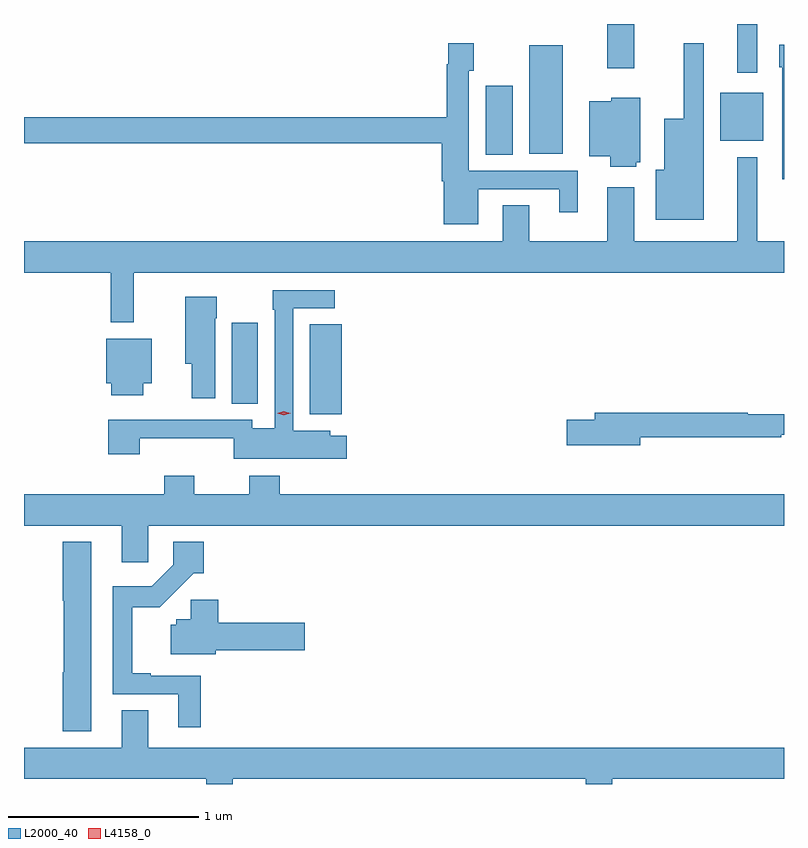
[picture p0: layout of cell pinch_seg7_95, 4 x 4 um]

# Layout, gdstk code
import gdstk
lib = gdstk.Library(unit=1e-6, precision=1e-09)
def R(c, l, rs):  # rectangles x0, y0, x1, y1
    for r in rs: c.add(gdstk.rectangle(r[:2], r[2:], *l))
def P(c, l, *ps):  # polygons
    for p in ps: c.add(gdstk.Polygon(p, *l))
L2000_40 = (2000, 40)
L4158_0 = (4158, 0)

pinch_seg7_95 = lib.new_cell('pinch_seg7_95')
R(pinch_seg7_95, L2000_40, [(893.699,1001.201,893.866,1001.675), (893.288,1001.257,893.425,1001.683), (894.623,1002.568,894.766,1002.931), (894.854,1002.572,895.03,1003.144), (895.859,1002.641,896.086,1002.895), (895.949,1002.999,896.053,1003.256), (895.265,1003.023,895.405,1003.256)])
P(pinch_seg7_95, L2000_40, [(895.771,1003.156),(895.667,1003.156),(895.667,1002.757),(895.565,1002.757),(895.565,1002.49),(895.52,1002.49),(895.52,1002.227),(895.771,1002.227)],
  [(894.586,1002.387),(895.01,1002.387),(895.01,1002.264),(895.108,1002.264),(895.108,1002.483),(894.534,1002.483),(894.534,1003.011),(894.561,1003.011),(894.561,1003.156),(894.426,1003.156),(894.426,1003.043),(894.418,1003.043),(894.418,1002.764),(892.194,1002.764),(892.194,1002.628),(894.392,1002.628),(894.392,1002.429),(894.404,1002.429),(894.404,1002.203),(894.586,1002.203)],
  [(896.194,1003.147),(896.168,1003.147),(896.168,1003.029),(896.186,1003.029),(896.186,1002.44),(896.194,1002.44)],
  [(895.416,1002.528),(895.438,1002.528),(895.438,1002.868),(895.284,1002.868),(895.284,1002.85),(895.169,1002.85),(895.169,1002.56),(895.28,1002.56),(895.28,1002.506),(895.416,1002.506)],
  [(892.772,1001.948),(896.194,1001.948),(896.194,1002.112),(896.053,1002.112),(896.053,1002.556),(895.949,1002.556),(895.949,1002.112),(895.405,1002.112),(895.405,1002.397),(895.265,1002.397),(895.265,1002.112),(894.853,1002.112),(894.853,1002.302),(894.713,1002.302),(894.713,1002.112),(892.194,1002.112),(892.194,1001.948),(892.651,1001.948),(892.651,1001.685),(892.772,1001.685)],
  [(893.893,1001.089),(893.805,1001.089),(893.805,1001.116),(893.61,1001.116),(893.61,1001.76),(893.83,1001.76),(893.83,1001.856),(893.502,1001.856),(893.502,1001.753),(893.514,1001.753),(893.514,1001.128),(893.394,1001.128),(893.394,1001.172),(892.885,1001.172),(892.885,1001.173),(892.637,1001.173),(892.637,1000.992),(892.802,1000.992),(892.802,1001.075),(893.298,1001.075),(893.298,1000.967),(893.893,1000.967)],
  [(893.2,1001.708),(893.208,1001.708),(893.208,1001.821),(893.042,1001.821),(893.042,1001.468),(893.078,1001.468),(893.078,1001.286),(893.2,1001.286)],
  [(892.822,1001.366),(892.867,1001.366),(892.867,1001.599),(892.628,1001.599),(892.628,1001.366),(892.652,1001.366),(892.652,1001.303),(892.822,1001.303)],
  [(895.438,1001.082),(896.18,1001.082),(896.18,1001.094),(896.194,1001.094),(896.194,1001.203),(896.003,1001.203),(896.003,1001.21),(895.199,1001.21),(895.199,1001.174),(895.05,1001.174),(895.05,1001.039),(895.438,1001.039)],
  [(892.848,1000.616),(896.194,1000.616),(896.194,1000.78),(893.54,1000.78),(893.54,1000.879),(893.38,1000.879),(893.38,1000.78),(893.091,1000.78),(893.091,1000.879),(892.931,1000.879),(892.931,1000.78),(892.194,1000.78),(892.194,1000.616),(892.709,1000.616),(892.709,1000.422),(892.848,1000.422)],
  [(893.123,999.825),(892.861,999.825),(892.861,999.838),(892.765,999.838),(892.765,1000.187),(892.909,1000.187),(893.087,1000.364),(893.141,1000.364),(893.141,1000.531),(892.98,1000.531),(892.98,1000.41),(892.866,1000.296),(892.661,1000.296),(892.661,999.729),(893.006,999.729),(893.006,999.555),(893.123,999.555)],
  [(892.549,1000.531),(892.397,1000.531),(892.397,1000.221),(892.402,1000.221),(892.402,999.843),(892.397,999.843),(892.397,999.533),(892.549,999.533)],
  [(893.203,999.959),(893.671,999.959),(893.671,1000.106),(893.216,1000.106),(893.216,1000.227),(893.071,1000.227),(893.071,1000.122),(892.995,1000.122),(892.995,1000.095),(892.967,1000.095),(892.967,999.938),(893.203,999.938)],
  [(893.293,999.284),(895.151,999.284),(895.151,999.256),(895.291,999.256),(895.291,999.284),(896.194,999.284),(896.194,999.448),(892.849,999.448),(892.849,999.643),(892.709,999.643),(892.709,999.448),(892.194,999.448),(892.194,999.284),(893.153,999.284),(893.153,999.256),(893.293,999.256)])
P(pinch_seg7_95, L4158_0, [(893.562,1001.198),(893.527,1001.208),(893.527,1001.208),(893.527,1001.208),(893.562,1001.218),(893.596,1001.208),(893.597,1001.208),(893.596,1001.208)])

lib.write_gds('pinch_seg7_95.gds')
